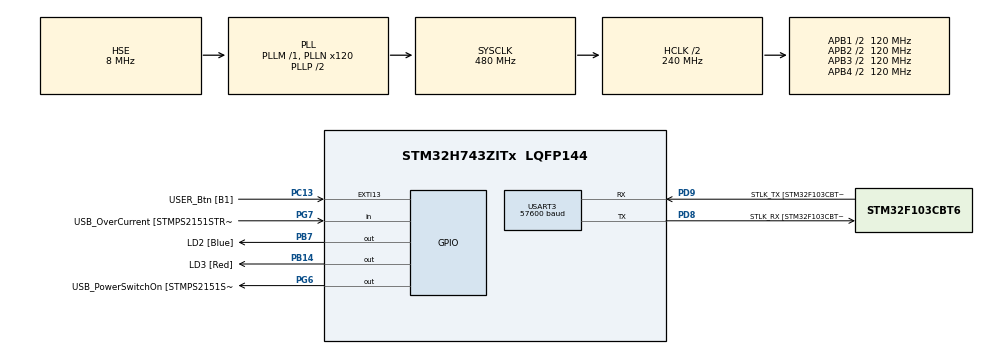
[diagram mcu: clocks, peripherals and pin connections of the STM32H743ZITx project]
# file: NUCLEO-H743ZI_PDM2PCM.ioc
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Mcu.Family=STM32H7
Mcu.Name=STM32H743ZITx
Mcu.Package=LQFP144
NVIC.PriorityGroup=NVIC_PRIORITYGROUP_4
PA1.GPIO_Label=RMII_REF_CLK
PA1.Signal=ETH_REF_CLK
PA10.GPIO_Label=USB_ID
PA10.Signal=USB_OTG_FS_ID
PA11.GPIO_Label=USB_DM
PA11.Signal=USB_OTG_FS_DM
PA12.GPIO_Label=USB_DP
PA12.Signal=USB_OTG_FS_DP
PA2.GPIO_Label=RMII_MDIO
PA2.Signal=ETH_MDIO
PA7.GPIO_Label=RMII_CRS_DV
PA7.Signal=ETH_CRS_DV
PA8.GPIO_Label=USB_SOF [TP1]
PA8.Signal=USB_OTG_FS_SOF
PA9.GPIO_Label=USB_VBUS
PA9.Signal=USB_OTG_FS_VBUS
PB13.GPIO_Label=RMII_TXD1
PB13.Signal=ETH_TXD1
PB14.GPIO_Label=LD3 [Red]
PB14.Signal=GPIO_Output
PB7.GPIO_Label=LD2 [Blue]
PB7.Signal=GPIO_Output
PC1.GPIO_Label=RMII_MDC
PC1.Signal=ETH_MDC
PC13.GPIO_Label=USER_Btn [B1]
PC13.Signal=GPXTI13
PC14-OSC32_IN\ (OSC32_IN).Mode=LSE-External-Oscillator
PC14-OSC32_IN\ (OSC32_IN).Signal=RCC_OSC32_IN
PC15-OSC32_OUT\ (OSC32_OUT).Mode=LSE-External-Oscillator
PC15-OSC32_OUT\ (OSC32_OUT).Signal=RCC_OSC32_OUT
PC4.GPIO_Label=RMII_RXD0
PC4.Signal=ETH_RXD0
PC5.GPIO_Label=RMII_RXD1
PC5.Signal=ETH_RXD1
PD8.GPIO_Label=STLK_RX [STM32F103CBT6_PA3]
PD8.Mode=Asynchronous
PD8.Signal=USART3_TX
PD9.GPIO_Label=STLK_TX [STM32F103CBT6_PA2]
PD9.Mode=Asynchronous
PD9.Signal=USART3_RX
PDM2PCM.CHANNEL1_in_ptr_channels=1
PDM2PCM.CHANNEL1_out_ptr_channels=1
PDM2PCM.CHANNEL1_output_samples_number=125
PG11.GPIO_Label=RMII_TX_EN
PG11.Signal=ETH_TX_EN
PG13.GPIO_Label=RMII_TXD0
PG13.Signal=ETH_TXD0
PG6.GPIO_Label=USB_PowerSwitchOn [STMPS2151STR_EN]
PG6.Signal=GPIO_Output
PG7.GPIO_Label=USB_OverCurrent [STMPS2151STR_FAULT]
PG7.Signal=GPIO_Input
PH0-OSC_IN\ (PH0).GPIO_Label=MCO
PH0-OSC_IN\ (PH0).Mode=HSE-External-Clock-Source
PH0-OSC_IN\ (PH0).Signal=RCC_OSC_IN
PH1-OSC_OUT\ (PH1).Signal=RCC_OSC_OUT
ProjectManager.HeapSize=0x200
ProjectManager.StackSize=0x400
ProjectManager.TargetToolchain=STM32CubeIDE
RCC.48MHZClocksFreq_Value=24000000
RCC.ADCFreq_Value=16125000
RCC.AHBFreq_Value=216000000
RCC.APB1CLKDivider=RCC_HCLK_DIV4
RCC.APB1Freq_Value=120000000
RCC.APB1TimFreq_Value=108000000
RCC.APB2CLKDivider=RCC_HCLK_DIV2
RCC.APB2Freq_Value=120000000
RCC.APB2TimFreq_Value=216000000
RCC.APB3Freq_Value=120000000
RCC.APB4Freq_Value=120000000
RCC.CortexFreq_Value=480000000
RCC.D1PPRE=RCC_APB3_DIV2
RCC.D2PPRE1=RCC_APB1_DIV2
RCC.D2PPRE2=RCC_APB2_DIV2
RCC.D3PPRE=RCC_APB4_DIV2
RCC.DIVM1=1
RCC.DIVN1=120
RCC.DIVQ1=4
RCC.HCLKFreq_Value=240000000
RCC.HPRE=RCC_HCLK_DIV2
RCC.HSE_VALUE=8000000
RCC.HSI_VALUE=64000000
RCC.PLLM=25
RCC.PLLMUL=RCC_PLL_MUL9
RCC.PLLN=432
RCC.PLLQ=9
RCC.PLLSourceVirtual=RCC_PLLSOURCE_HSE
RCC.PRESCALERUSB=RCC_USBCLKSOURCE_PLL_DIV1_5
RCC.PWR_Regulator_Voltage_Scale=PWR_REGULATOR_VOLTAGE_SCALE0
RCC.SYSCLKFreq_VALUE=480000000
RCC.SYSCLKSource=RCC_SYSCLKSOURCE_PLLCLK
RCC.SYSCLKSourceVirtual=RCC_SYSCLKSOURCE_PLLCLK
RCC.USBFreq_Value=240000000
RCC.VCOOutputFreq_Value=432000000
USART3.BaudRate=57600
USART3.VirtualMode-Asynchronous=VM_ASYNC
VP_CRC_VS_CRC.Mode=CRC_Activate
VP_PDM2PCM_VS_PDM2PCM.Mode=PDM2PCM_Channel
board=NUCLEO-H743ZI

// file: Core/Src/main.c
/* USER CODE BEGIN Header */
/**
  ******************************************************************************
  * @file           : main.c
  * @brief          : Main program body
  ******************************************************************************
  * @attention
  *
  * <h2><center>&copy; Copyright (c) 2021 STMicroelectronics.
  * All rights reserved.</center></h2>
  *
  * This software component is licensed by ST under BSD 3-Clause license,
  * the "License"; You may not use this file except in compliance with the
  * License. You may obtain a copy of the License at:
  *                        opensource.org/licenses/BSD-3-Clause
  *
  ******************************************************************************
  */
/* USER CODE END Header */
#include "main.h"
#include "pdm2pcm.h"

/* USER CODE BEGIN Includes */

#include <stdio.h>
#include "pdm_tones.h"

/* USER CODE END Includes */

CRC_HandleTypeDef hcrc;

UART_HandleTypeDef huart3;

/* USER CODE BEGIN PV */

int16_t PCM_outBuffer[1000];

/* USER CODE END PV */

void SystemClock_Config(void);
static void MX_GPIO_Init(void);
static void MX_USART3_UART_Init(void);
static void MX_CRC_Init(void);
/* USER CODE BEGIN PFP */

#define PUTCHAR_PROTOTYPE int __io_putchar(int ch)

/* USER CODE END PFP */

int main(void)
{

  /* MCU Configuration--------------------------------------------------------*/

  /* Reset of all peripherals, Initializes the Flash interface and the Systick. */
  HAL_Init();

  /* Configure the system clock */
  SystemClock_Config();

  /* Initialize all configured peripherals */
  MX_GPIO_Init();
  MX_USART3_UART_Init();
  MX_CRC_Init();
  MX_PDM2PCM_Init();
  /* USER CODE BEGIN 2 */

  printf("Starting >> NUCLEO-H743ZI_PDM2PCM \n");

	// first bit to MSB - 8bit tone "AA"
	for(uint16_t i = 0; i < sizeof(tone500HzA4_pdmdata) * 4; i++)
	{
		pdmBuffer8_8000bits_1000bytes_1[i >> 3] = 0x55;
//		printf("i = %d,  i >>3 = %d, i mod sizeof(tone500HzA4_pdmdata) = %d \n",i, i >>3, i % sizeof(tone500HzA4_pdmdata));
	}

	// first bit to MSB - 8bit tone500Hz_pdmdata
	for(uint16_t i = 0; i < sizeof(tone500Hz_pdmdata) * 4; i++)
	{
		pdmBuffer8_8000bits_1000bytes_2[i >> 3] = (pdmBuffer8_8000bits_1000bytes_2[i >> 3] << 1) + tone500Hz_pdmdata[i % sizeof(tone500Hz_pdmdata)];
//		printf("i = %d,  i >>3 = %d, i mod sizeof(tone500Hz_pdmdata) = %d \n",i, i >>3, i % sizeof(tone500Hz_pdmdata));
	}

	// first bit to MSB - 8bit tone500HzA4_pdmdata
	for(uint16_t i = 0; i < sizeof(tone500HzA4_pdmdata) * 4; i++)
	{
		pdmBuffer8_8000bits_1000bytes_3[i >> 3] = (pdmBuffer8_8000bits_1000bytes_3[i >> 3] << 1) + tone500HzA4_pdmdata[i % sizeof(tone500HzA4_pdmdata)];
//		printf("i = %d,  i >>3 = %d, i mod sizeof(tone500HzA4_pdmdata) = %d \n",i, i >>3, i % sizeof(tone500HzA4_pdmdata));
	}

//	GPIOD->BSRR = (1<<13); // pin13 set
	PDM_Filter(&pdmBuffer8_8000bits_1000bytes_1[0],&PCM_outBuffer[0], &PDM1_filter_handler); // 174.5uS @ 168Mhz
//	GPIOD->BSRR = (1<<(13+16)); // pin13 + 16, reset
	PDM_Filter(&pdmBuffer8_8000bits_1000bytes_2[0],&PCM_outBuffer[125], &PDM1_filter_handler); // 174.5uS @ 168Mhz
//	GPIOD->BSRR = (1<<13); // pin13 set
	PDM_Filter(&pdmBuffer8_8000bits_1000bytes_1[0],&PCM_outBuffer[250], &PDM1_filter_handler); // 174.5uS @ 168Mhz
//	GPIOD->BSRR = (1<<(13+16)); // pin13 + 16, reset
	PDM_Filter(&pdmBuffer8_8000bits_1000bytes_3[0],&PCM_outBuffer[375], &PDM1_filter_handler); // 174.5uS @ 168Mhz
//	GPIOD->BSRR = (1<<13); // pin13 set

	printf("PCM_outBuffer \n");
	for (uint16_t Index = 0; Index < 500; Index++)
	{
		printf("%d %d\n",Index, PCM_outBuffer[Index]);
	}

  printf("Ending   >> NUCLEO-H743ZI_PDM2PCM \n");

  /* USER CODE END 2 */

  /* Infinite loop */
  /* USER CODE BEGIN WHILE */
  while (1)
  {
//	  HAL_GPIO_TogglePin(GPIOB, GPIO_PIN_7);
//	  HAL_GPIO_TogglePin(GPIOB, GPIO_PIN_14);
//	  HAL_Delay(200);

    /* USER CODE END WHILE */

  }
}

void SystemClock_Config(void)
{
  RCC_OscInitTypeDef RCC_OscInitStruct = {0};
  RCC_ClkInitTypeDef RCC_ClkInitStruct = {0};

  /** Supply configuration update enable
  */
  HAL_PWREx_ConfigSupply(PWR_LDO_SUPPLY);

  /** Configure the main internal regulator output voltage
  */
  __HAL_PWR_VOLTAGESCALING_CONFIG(PWR_REGULATOR_VOLTAGE_SCALE0);

  while(!__HAL_PWR_GET_FLAG(PWR_FLAG_VOSRDY)) {}

  /** Initializes the RCC Oscillators according to the specified parameters
  * in the RCC_OscInitTypeDef structure.
  */
  RCC_OscInitStruct.OscillatorType = RCC_OSCILLATORTYPE_HSE;
  RCC_OscInitStruct.HSEState = RCC_HSE_BYPASS;
  RCC_OscInitStruct.PLL.PLLState = RCC_PLL_ON;
  RCC_OscInitStruct.PLL.PLLSource = RCC_PLLSOURCE_HSE;
  RCC_OscInitStruct.PLL.PLLM = 1;
  RCC_OscInitStruct.PLL.PLLN = 120;
  RCC_OscInitStruct.PLL.PLLP = 2;
  RCC_OscInitStruct.PLL.PLLQ = 4;
  RCC_OscInitStruct.PLL.PLLR = 2;
  RCC_OscInitStruct.PLL.PLLRGE = RCC_PLL1VCIRANGE_3;
  RCC_OscInitStruct.PLL.PLLVCOSEL = RCC_PLL1VCOWIDE;
  RCC_OscInitStruct.PLL.PLLFRACN = 0;
  if (HAL_RCC_OscConfig(&RCC_OscInitStruct) != HAL_OK)
  {
    Error_Handler();
  }

  /** Initializes the CPU, AHB and APB buses clocks
  */
  RCC_ClkInitStruct.ClockType = RCC_CLOCKTYPE_HCLK|RCC_CLOCKTYPE_SYSCLK
                              |RCC_CLOCKTYPE_PCLK1|RCC_CLOCKTYPE_PCLK2
                              |RCC_CLOCKTYPE_D3PCLK1|RCC_CLOCKTYPE_D1PCLK1;
  RCC_ClkInitStruct.SYSCLKSource = RCC_SYSCLKSOURCE_PLLCLK;
  RCC_ClkInitStruct.SYSCLKDivider = RCC_SYSCLK_DIV1;
  RCC_ClkInitStruct.AHBCLKDivider = RCC_HCLK_DIV2;
  RCC_ClkInitStruct.APB3CLKDivider = RCC_APB3_DIV2;
  RCC_ClkInitStruct.APB1CLKDivider = RCC_APB1_DIV2;
  RCC_ClkInitStruct.APB2CLKDivider = RCC_APB2_DIV2;
  RCC_ClkInitStruct.APB4CLKDivider = RCC_APB4_DIV2;

  if (HAL_RCC_ClockConfig(&RCC_ClkInitStruct, FLASH_LATENCY_4) != HAL_OK)
  {
    Error_Handler();
  }
}

static void MX_CRC_Init(void)
{

  hcrc.Instance = CRC;
  hcrc.Init.DefaultPolynomialUse = DEFAULT_POLYNOMIAL_ENABLE;
  hcrc.Init.DefaultInitValueUse = DEFAULT_INIT_VALUE_ENABLE;
  hcrc.Init.InputDataInversionMode = CRC_INPUTDATA_INVERSION_NONE;
  hcrc.Init.OutputDataInversionMode = CRC_OUTPUTDATA_INVERSION_DISABLE;
  hcrc.InputDataFormat = CRC_INPUTDATA_FORMAT_BYTES;
  if (HAL_CRC_Init(&hcrc) != HAL_OK)
  {
    Error_Handler();
  }
  __HAL_CRC_DR_RESET(&hcrc);

}

static void MX_USART3_UART_Init(void)
{

  huart3.Instance = USART3;
  huart3.Init.BaudRate = 57600;
  huart3.Init.WordLength = UART_WORDLENGTH_8B;
  huart3.Init.StopBits = UART_STOPBITS_1;
  huart3.Init.Parity = UART_PARITY_NONE;
  huart3.Init.Mode = UART_MODE_TX_RX;
  huart3.Init.HwFlowCtl = UART_HWCONTROL_NONE;
  huart3.Init.OverSampling = UART_OVERSAMPLING_16;
  huart3.Init.OneBitSampling = UART_ONE_BIT_SAMPLE_DISABLE;
  huart3.Init.ClockPrescaler = UART_PRESCALER_DIV1;
  huart3.AdvancedInit.AdvFeatureInit = UART_ADVFEATURE_NO_INIT;
  if (HAL_UART_Init(&huart3) != HAL_OK)
  {
    Error_Handler();
  }
  if (HAL_UARTEx_SetTxFifoThreshold(&huart3, UART_TXFIFO_THRESHOLD_1_8) != HAL_OK)
  {
    Error_Handler();
  }
  if (HAL_UARTEx_SetRxFifoThreshold(&huart3, UART_RXFIFO_THRESHOLD_1_8) != HAL_OK)
  {
    Error_Handler();
  }
  if (HAL_UARTEx_DisableFifoMode(&huart3) != HAL_OK)
  {
    Error_Handler();
  }

}

static void MX_GPIO_Init(void)
{
  GPIO_InitTypeDef GPIO_InitStruct = {0};

  /* GPIO Ports Clock Enable */
  __HAL_RCC_GPIOC_CLK_ENABLE();
  __HAL_RCC_GPIOH_CLK_ENABLE();
  __HAL_RCC_GPIOA_CLK_ENABLE();
  __HAL_RCC_GPIOB_CLK_ENABLE();
  __HAL_RCC_GPIOD_CLK_ENABLE();
  __HAL_RCC_GPIOG_CLK_ENABLE();

  /*Configure GPIO pin Output Level */
  HAL_GPIO_WritePin(GPIOB, LD3_Pin|LD2_Pin, GPIO_PIN_RESET);

  /*Configure GPIO pin Output Level */
  HAL_GPIO_WritePin(USB_PowerSwitchOn_GPIO_Port, USB_PowerSwitchOn_Pin, GPIO_PIN_RESET);

  /*Configure GPIO pin : USER_Btn_Pin */
  GPIO_InitStruct.Pin = USER_Btn_Pin;
  GPIO_InitStruct.Mode = GPIO_MODE_IT_RISING;
  GPIO_InitStruct.Pull = GPIO_NOPULL;
  HAL_GPIO_Init(USER_Btn_GPIO_Port, &GPIO_InitStruct);

  /*Configure GPIO pins : RMII_MDC_Pin RMII_RXD0_Pin RMII_RXD1_Pin */
  GPIO_InitStruct.Pin = RMII_MDC_Pin|RMII_RXD0_Pin|RMII_RXD1_Pin;
  GPIO_InitStruct.Mode = GPIO_MODE_AF_PP;
  GPIO_InitStruct.Pull = GPIO_NOPULL;
  GPIO_InitStruct.Speed = GPIO_SPEED_FREQ_LOW;
  GPIO_InitStruct.Alternate = GPIO_AF11_ETH;
  HAL_GPIO_Init(GPIOC, &GPIO_InitStruct);

  /*Configure GPIO pins : RMII_REF_CLK_Pin RMII_MDIO_Pin RMII_CRS_DV_Pin */
  GPIO_InitStruct.Pin = RMII_REF_CLK_Pin|RMII_MDIO_Pin|RMII_CRS_DV_Pin;
  GPIO_InitStruct.Mode = GPIO_MODE_AF_PP;
  GPIO_InitStruct.Pull = GPIO_NOPULL;
  GPIO_InitStruct.Speed = GPIO_SPEED_FREQ_LOW;
  GPIO_InitStruct.Alternate = GPIO_AF11_ETH;
  HAL_GPIO_Init(GPIOA, &GPIO_InitStruct);

  /*Configure GPIO pin : RMII_TXD1_Pin */
  GPIO_InitStruct.Pin = RMII_TXD1_Pin;
  GPIO_InitStruct.Mode = GPIO_MODE_AF_PP;
  GPIO_InitStruct.Pull = GPIO_NOPULL;
  GPIO_InitStruct.Speed = GPIO_SPEED_FREQ_LOW;
  GPIO_InitStruct.Alternate = GPIO_AF11_ETH;
  HAL_GPIO_Init(RMII_TXD1_GPIO_Port, &GPIO_InitStruct);

  /*Configure GPIO pins : LD3_Pin LD2_Pin */
  GPIO_InitStruct.Pin = LD3_Pin|LD2_Pin;
  GPIO_InitStruct.Mode = GPIO_MODE_OUTPUT_PP;
  GPIO_InitStruct.Pull = GPIO_NOPULL;
  GPIO_InitStruct.Speed = GPIO_SPEED_FREQ_LOW;
  HAL_GPIO_Init(GPIOB, &GPIO_InitStruct);

  /*Configure GPIO pin : USB_PowerSwitchOn_Pin */
  GPIO_InitStruct.Pin = USB_PowerSwitchOn_Pin;
  GPIO_InitStruct.Mode = GPIO_MODE_OUTPUT_PP;
  GPIO_InitStruct.Pull = GPIO_NOPULL;
  GPIO_InitStruct.Speed = GPIO_SPEED_FREQ_LOW;
  HAL_GPIO_Init(USB_PowerSwitchOn_GPIO_Port, &GPIO_InitStruct);

  /*Configure GPIO pin : USB_OverCurrent_Pin */
  GPIO_InitStruct.Pin = USB_OverCurrent_Pin;
  GPIO_InitStruct.Mode = GPIO_MODE_INPUT;
  GPIO_InitStruct.Pull = GPIO_NOPULL;
  HAL_GPIO_Init(USB_OverCurrent_GPIO_Port, &GPIO_InitStruct);

  /*Configure GPIO pins : USB_SOF_Pin USB_ID_Pin USB_DM_Pin USB_DP_Pin */
  GPIO_InitStruct.Pin = USB_SOF_Pin|USB_ID_Pin|USB_DM_Pin|USB_DP_Pin;
  GPIO_InitStruct.Mode = GPIO_MODE_AF_PP;
  GPIO_InitStruct.Pull = GPIO_NOPULL;
  GPIO_InitStruct.Speed = GPIO_SPEED_FREQ_LOW;
  GPIO_InitStruct.Alternate = GPIO_AF10_OTG1_FS;
  HAL_GPIO_Init(GPIOA, &GPIO_InitStruct);

  /*Configure GPIO pins : RMII_TX_EN_Pin RMII_TXD0_Pin */
  GPIO_InitStruct.Pin = RMII_TX_EN_Pin|RMII_TXD0_Pin;
  GPIO_InitStruct.Mode = GPIO_MODE_AF_PP;
  GPIO_InitStruct.Pull = GPIO_NOPULL;
  GPIO_InitStruct.Speed = GPIO_SPEED_FREQ_LOW;
  GPIO_InitStruct.Alternate = GPIO_AF11_ETH;
  HAL_GPIO_Init(GPIOG, &GPIO_InitStruct);

}

/* USER CODE BEGIN 4 */

PUTCHAR_PROTOTYPE
{
  /* Place your implementation of fputc here */
  /* e.g. write a character to the LPUART1 and Loop until the end of transmission */
  HAL_UART_Transmit(&huart3, (uint8_t *)&ch, 1, 0xFFFF);

  return ch;
}

/* USER CODE END 4 */

void Error_Handler(void)
{
  __disable_irq();
  while (1)
  {
  }
}
